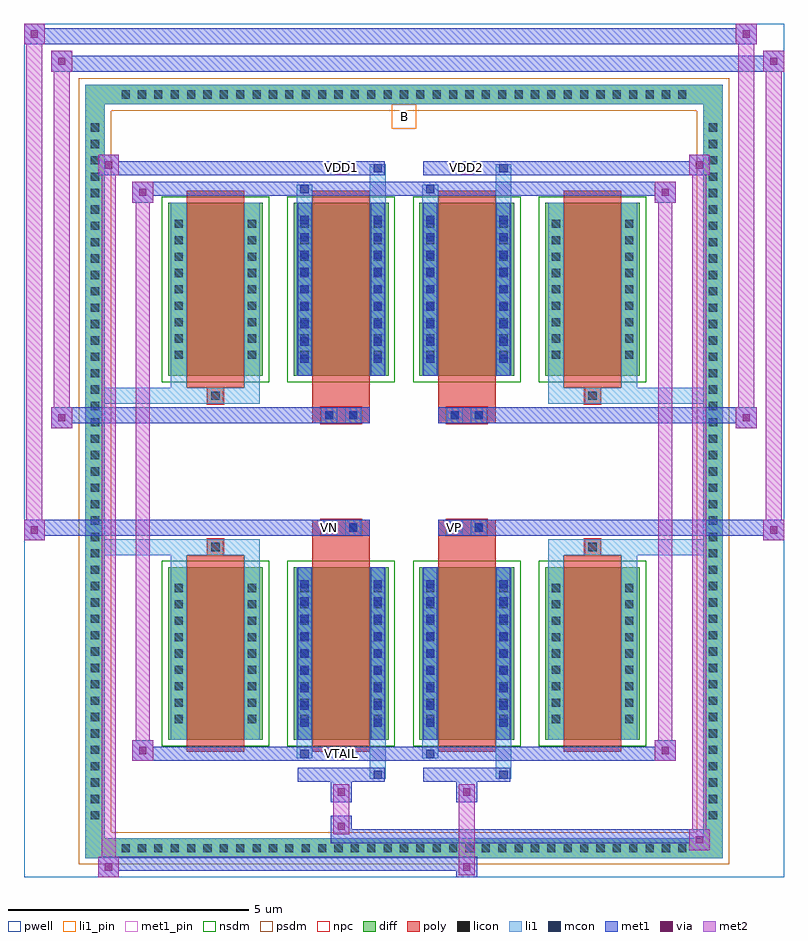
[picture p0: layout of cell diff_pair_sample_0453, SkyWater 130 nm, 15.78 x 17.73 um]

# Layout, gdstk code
import gdstk
lib = gdstk.Library(unit=1e-6, precision=5e-09)
def R(c, l, rs):  # rectangles x0, y0, x1, y1
    for r in rs: c.add(gdstk.rectangle(r[:2], r[2:], *l))
def A(c, l, x, y, w, h, nx, ny, dx, dy):  # array of equal rectangles
    R(c, l, [(x+i*dx, y+j*dy, x+i*dx+w, y+j*dy+h) for i in range(nx) for j in range(ny)])
def P(c, l, *ps):  # polygons
    for p in ps: c.add(gdstk.Polygon(p, *l))
pwell = (64, 44)
diff = (65, 20)
poly = (66, 20)
licon = (66, 44)
li1_pin = (67, 16)
li1 = (67, 20)
mcon = (67, 44)
met1_pin = (68, 16)
met1 = (68, 20)
via = (68, 44)
met2 = (69, 20)
nsdm = (93, 44)
psdm = (94, 20)
npc = (95, 20)

diff_pair_sample_0453 = lib.new_cell('diff_pair_sample_0453')
R(diff_pair_sample_0453, pwell, [(-7.89,-8.43,7.89,9.3), (-5.21,-6.62,-0.01,-0.8), (0.01,-6.62,5.21,-0.8), (-5.21,0.8,-0.01,6.62), (0.01,0.8,5.21,6.62)])
A(diff_pair_sample_0453, diff, -5.985, -8.03, 0.41, 0.41, 35, 2, 0.34, 15.65)
A(diff_pair_sample_0453, diff, -6.62, -7.345, 0.41, 0.41, 1, 43, 0, 0.34)
A(diff_pair_sample_0453, diff, 6.21, -7.345, 0.41, 0.41, 1, 43, 0, 0.34)
A(diff_pair_sample_0453, diff, -4.9, -5.575, 1.97, 3.59, 4, 2, 2.61, 7.56)
R(diff_pair_sample_0453, diff, [(-5.985,-8.03,5.985,-7.62), (-6.62,-7.345,-6.21,7.345), (6.21,-7.345,6.62,7.345), (-5.985,7.62,5.985,8.03)])
P(diff_pair_sample_0453, diff, [(6.62,8.03),(-6.62,8.03),(-6.62,-7.62),(-6.21,-7.62),(-6.21,7.62),(6.21,7.62),(6.21,-7.62),(-6.21,-7.62),(-6.62,-7.62),(-6.62,-8.03),(6.62,-8.03)])
A(diff_pair_sample_0453, poly, -4.51, -5.825, 1.19, 4.09, 4, 2, 2.61, 7.56)
R(diff_pair_sample_0453, poly, [(-4.08,-1.735,-3.75,-1.405), (-4.08,-1.735,-3.75,-1.405), (-1.9,-1.735,-0.71,-1.33), (0.71,-1.735,1.9,-1.33), (3.75,-1.735,4.08,-1.405), (3.75,-1.735,4.08,-1.405), (-1.9,-1.33,-0.71,-1), (-1.72,-1.33,-1.39,-1), (-1.22,-1.33,-0.89,-1), (0.71,-1.33,1.9,-1), (0.89,-1.33,1.22,-1), (1.39,-1.33,1.72,-1), (-1.9,1,-0.71,1.33), (-1.72,1,-1.39,1.33), (-1.22,1,-0.89,1.33), (0.71,1,1.9,1.33), (0.89,1,1.22,1.33), (1.39,1,1.72,1.33), (-1.9,1.33,-0.71,1.735), (0.71,1.33,1.9,1.735), (-4.08,1.405,-3.75,1.735), (-4.08,1.405,-3.75,1.735), (3.75,1.405,4.08,1.735), (3.75,1.405,4.08,1.735)])
A(diff_pair_sample_0453, licon, -5.865, -7.91, 0.17, 0.17, 35, 2, 0.34, 15.65)
A(diff_pair_sample_0453, licon, -6.5, -7.225, 0.17, 0.17, 1, 43, 0, 0.34)
A(diff_pair_sample_0453, licon, 6.33, -7.225, 0.17, 0.17, 1, 43, 0, 0.34)
A(diff_pair_sample_0453, licon, -4.76, -5.225, 0.17, 0.17, 1, 9, 0, 0.34)
A(diff_pair_sample_0453, licon, -3.24, -5.225, 0.17, 0.17, 1, 9, 0, 0.34)
A(diff_pair_sample_0453, licon, -2.15, -5.225, 0.17, 0.17, 1, 9, 0, 0.34)
A(diff_pair_sample_0453, licon, -0.63, -5.225, 0.17, 0.17, 1, 9, 0, 0.34)
A(diff_pair_sample_0453, licon, 0.46, -5.225, 0.17, 0.17, 1, 9, 0, 0.34)
A(diff_pair_sample_0453, licon, 1.98, -5.225, 0.17, 0.17, 1, 9, 0, 0.34)
A(diff_pair_sample_0453, licon, 3.07, -5.225, 0.17, 0.17, 1, 9, 0, 0.34)
A(diff_pair_sample_0453, licon, 4.59, -5.225, 0.17, 0.17, 1, 9, 0, 0.34)
A(diff_pair_sample_0453, licon, -4.76, 2.335, 0.17, 0.17, 1, 9, 0, 0.34)
A(diff_pair_sample_0453, licon, -3.24, 2.335, 0.17, 0.17, 1, 9, 0, 0.34)
A(diff_pair_sample_0453, licon, -2.15, 2.335, 0.17, 0.17, 1, 9, 0, 0.34)
A(diff_pair_sample_0453, licon, -0.63, 2.335, 0.17, 0.17, 1, 9, 0, 0.34)
A(diff_pair_sample_0453, licon, 0.46, 2.335, 0.17, 0.17, 1, 9, 0, 0.34)
A(diff_pair_sample_0453, licon, 1.98, 2.335, 0.17, 0.17, 1, 9, 0, 0.34)
A(diff_pair_sample_0453, licon, 3.07, 2.335, 0.17, 0.17, 1, 9, 0, 0.34)
A(diff_pair_sample_0453, licon, 4.59, 2.335, 0.17, 0.17, 1, 9, 0, 0.34)
R(diff_pair_sample_0453, licon, [(-4,-1.655,-3.83,-1.485), (3.83,-1.655,4,-1.485), (-1.64,-1.25,-1.47,-1.08), (-1.14,-1.25,-0.97,-1.08), (0.97,-1.25,1.14,-1.08), (1.47,-1.25,1.64,-1.08), (-1.64,1.08,-1.47,1.25), (-1.14,1.08,-0.97,1.25), (0.97,1.08,1.14,1.25), (1.47,1.08,1.64,1.25), (-4,1.485,-3.83,1.655), (3.83,1.485,4,1.655)])
R(diff_pair_sample_0453, li1_pin, [(-0.25,7.12,0.25,7.62)])
A(diff_pair_sample_0453, li1, -5.945, -7.99, 0.33, 0.33, 35, 2, 0.34, 15.65)
A(diff_pair_sample_0453, li1, -6.58, -7.305, 0.33, 0.33, 1, 43, 0, 0.34)
A(diff_pair_sample_0453, li1, 6.25, -7.305, 0.33, 0.33, 1, 43, 0, 0.34)
A(diff_pair_sample_0453, li1, -4.84, -5.305, 0.33, 0.33, 1, 9, 0, 0.34)
A(diff_pair_sample_0453, li1, -3.32, -5.305, 0.33, 0.33, 1, 9, 0, 0.34)
A(diff_pair_sample_0453, li1, -2.23, -5.305, 0.33, 0.33, 1, 9, 0, 0.34)
A(diff_pair_sample_0453, li1, -2.15, -5.305, 0.17, 0.17, 1, 9, 0, 0.36)
A(diff_pair_sample_0453, li1, -0.71, -5.305, 0.33, 0.33, 1, 9, 0, 0.34)
A(diff_pair_sample_0453, li1, -0.63, -5.305, 0.17, 0.17, 1, 9, 0, 0.36)
A(diff_pair_sample_0453, li1, 0.38, -5.305, 0.33, 0.33, 1, 9, 0, 0.34)
A(diff_pair_sample_0453, li1, 0.46, -5.305, 0.17, 0.17, 1, 9, 0, 0.36)
A(diff_pair_sample_0453, li1, 1.9, -5.305, 0.33, 0.33, 1, 9, 0, 0.34)
A(diff_pair_sample_0453, li1, 1.98, -5.305, 0.17, 0.17, 1, 9, 0, 0.36)
A(diff_pair_sample_0453, li1, 2.99, -5.305, 0.33, 0.33, 1, 9, 0, 0.34)
A(diff_pair_sample_0453, li1, 4.51, -5.305, 0.33, 0.33, 1, 9, 0, 0.34)
A(diff_pair_sample_0453, li1, -4.84, 2.255, 0.33, 0.33, 1, 9, 0, 0.34)
A(diff_pair_sample_0453, li1, -3.32, 2.255, 0.33, 0.33, 1, 9, 0, 0.34)
A(diff_pair_sample_0453, li1, -2.23, 2.255, 0.33, 0.33, 1, 9, 0, 0.34)
A(diff_pair_sample_0453, li1, -2.15, 2.255, 0.17, 0.17, 1, 9, 0, 0.36)
A(diff_pair_sample_0453, li1, -0.71, 2.255, 0.33, 0.33, 1, 9, 0, 0.34)
A(diff_pair_sample_0453, li1, -0.63, 2.255, 0.17, 0.17, 1, 9, 0, 0.36)
A(diff_pair_sample_0453, li1, 0.38, 2.255, 0.33, 0.33, 1, 9, 0, 0.34)
A(diff_pair_sample_0453, li1, 0.46, 2.255, 0.17, 0.17, 1, 9, 0, 0.36)
A(diff_pair_sample_0453, li1, 1.9, 2.255, 0.33, 0.33, 1, 9, 0, 0.34)
A(diff_pair_sample_0453, li1, 1.98, 2.255, 0.17, 0.17, 1, 9, 0, 0.36)
A(diff_pair_sample_0453, li1, 2.99, 2.255, 0.33, 0.33, 1, 9, 0, 0.34)
A(diff_pair_sample_0453, li1, 4.51, 2.255, 0.33, 0.33, 1, 9, 0, 0.34)
R(diff_pair_sample_0453, li1, [(-6.62,-8.03,-6.21,-7.62), (-6.62,-8.03,-6.21,-7.62), (-6.21,-8.03,6.21,-7.62), (6.21,-8.03,6.62,-7.62), (6.21,-8.03,6.62,-7.62), (-6.62,-7.62,-6.21,7.62), (6.21,-7.62,6.62,7.62), (-0.71,-6.38,-0.38,-5.575), (-0.63,-6.38,-0.46,-6.21), (1.9,-6.38,2.23,-5.575), (1.98,-6.38,2.15,-6.21), (-2.23,-5.95,-1.9,-5.575), (-2.15,-5.95,-1.98,-5.78), (0.38,-5.95,0.71,-5.575), (0.46,-5.95,0.63,-5.78), (-4.84,-5.575,-4.51,-1.985), (-3.32,-5.575,-2.99,-1.985), (-2.23,-5.575,-1.9,-1.985), (-0.71,-5.575,-0.38,-1.985), (0.38,-5.575,0.71,-1.985), (1.9,-5.575,2.23,-1.985), (2.99,-5.575,3.32,-1.985), (4.51,-5.575,4.84,-1.985), (-2.15,-5.305,-1.98,-2.255), (-0.63,-5.305,-0.46,-2.255), (0.46,-5.305,0.63,-2.255), (1.98,-5.305,2.15,-2.255), (-4.84,-1.985,-4.51,-1.405), (-3.32,-1.985,-2.99,-1.405), (2.99,-1.985,3.32,-1.405), (4.51,-1.985,4.84,-1.405), (-6.62,-1.735,-4.08,-1.405), (-4.84,-1.735,-4.08,-1.405), (-4.08,-1.735,-3.75,-1.405), (-3.75,-1.735,-2.99,-1.405), (2.99,-1.735,3.75,-1.405), (3.75,-1.735,4.08,-1.405), (3.75,-1.735,6.62,-1.405), (4.08,-1.735,4.84,-1.405), (-1.72,-1.33,-1.39,-1), (-1.22,-1.33,-0.89,-1), (0.89,-1.33,1.22,-1), (1.39,-1.33,1.72,-1), (-1.72,1,-1.39,1.33), (-1.22,1,-0.89,1.33), (0.89,1,1.22,1.33), (1.39,1,1.72,1.33), (-6.62,1.405,-4.08,1.735), (-4.84,1.405,-4.08,1.735), (-4.84,1.405,-4.51,1.985), (-4.08,1.405,-3.75,1.735), (-3.75,1.405,-2.99,1.735), (-3.32,1.405,-2.99,1.985), (2.99,1.405,3.75,1.735), (2.99,1.405,3.32,1.985), (3.75,1.405,4.08,1.735), (3.75,1.405,6.62,1.735), (4.08,1.405,4.84,1.735), (4.51,1.405,4.84,1.985), (-4.84,1.985,-4.51,5.575), (-3.32,1.985,-2.99,5.575), (-2.23,1.985,-1.9,5.575), (-0.71,1.985,-0.38,5.575), (0.38,1.985,0.71,5.575), (1.9,1.985,2.23,5.575), (2.99,1.985,3.32,5.575), (4.51,1.985,4.84,5.575), (-2.15,2.255,-1.98,5.305), (-0.63,2.255,-0.46,5.305), (0.46,2.255,0.63,5.305), (1.98,2.255,2.15,5.305), (-2.23,5.575,-1.9,5.95), (-0.71,5.575,-0.38,6.38), (0.38,5.575,0.71,5.95), (1.9,5.575,2.23,6.38), (-2.15,5.78,-1.98,5.95), (0.46,5.78,0.63,5.95), (-0.63,6.21,-0.46,6.38), (1.98,6.21,2.15,6.38), (-6.62,7.62,-6.21,8.03), (-6.62,7.62,-6.21,8.03), (-6.21,7.62,6.21,8.03), (6.21,7.62,6.62,8.03), (6.21,7.62,6.62,8.03)])
A(diff_pair_sample_0453, mcon, -2.15, -5.305, 0.17, 0.17, 1, 9, 0, 0.36)
A(diff_pair_sample_0453, mcon, -0.63, -5.305, 0.17, 0.17, 1, 9, 0, 0.36)
A(diff_pair_sample_0453, mcon, 0.46, -5.305, 0.17, 0.17, 1, 9, 0, 0.36)
A(diff_pair_sample_0453, mcon, 1.98, -5.305, 0.17, 0.17, 1, 9, 0, 0.36)
A(diff_pair_sample_0453, mcon, -2.15, 2.255, 0.17, 0.17, 1, 9, 0, 0.36)
A(diff_pair_sample_0453, mcon, -0.63, 2.255, 0.17, 0.17, 1, 9, 0, 0.36)
A(diff_pair_sample_0453, mcon, 0.46, 2.255, 0.17, 0.17, 1, 9, 0, 0.36)
A(diff_pair_sample_0453, mcon, 1.98, 2.255, 0.17, 0.17, 1, 9, 0, 0.36)
R(diff_pair_sample_0453, mcon, [(-0.63,-6.38,-0.46,-6.21), (1.98,-6.38,2.15,-6.21), (-2.15,-5.95,-1.98,-5.78), (0.46,-5.95,0.63,-5.78), (-1.64,-1.25,-1.47,-1.08), (-1.14,-1.25,-0.97,-1.08), (0.97,-1.25,1.14,-1.08), (1.47,-1.25,1.64,-1.08), (-1.64,1.08,-1.47,1.25), (-1.14,1.08,-0.97,1.25), (0.97,1.08,1.14,1.25), (1.47,1.08,1.64,1.25), (-2.15,5.78,-1.98,5.95), (0.46,5.78,0.63,5.95), (-0.63,6.21,-0.46,6.38), (1.98,6.21,2.15,6.38)])
R(diff_pair_sample_0453, met1_pin, [(-1.44,-5.99,-1.17,-5.72), (-1.69,-1.29,-1.42,-1.02), (0.92,-1.29,1.19,-1.02), (-1.44,6.17,-1.17,6.44), (1.17,6.17,1.44,6.44)])
A(diff_pair_sample_0453, met1, -2.21, -5.365, 0.29, 0.29, 1, 9, 0, 0.36)
A(diff_pair_sample_0453, met1, -0.69, -5.365, 0.29, 0.29, 1, 9, 0, 0.36)
A(diff_pair_sample_0453, met1, 0.4, -5.365, 0.29, 0.29, 1, 9, 0, 0.36)
A(diff_pair_sample_0453, met1, 1.92, -5.365, 0.29, 0.29, 1, 9, 0, 0.36)
A(diff_pair_sample_0453, met1, -2.21, 2.195, 0.29, 0.29, 1, 9, 0, 0.36)
A(diff_pair_sample_0453, met1, -0.69, 2.195, 0.29, 0.29, 1, 9, 0, 0.36)
A(diff_pair_sample_0453, met1, 0.4, 2.195, 0.29, 0.29, 1, 9, 0, 0.36)
A(diff_pair_sample_0453, met1, 1.92, 2.195, 0.29, 0.29, 1, 9, 0, 0.36)
R(diff_pair_sample_0453, met1, [(-6.35,-8.43,-5.92,-8), (1.09,-8.43,1.52,-8), (-6.35,-8.29,1.52,-8), (5.92,-7.86,6.35,-7.43), (-1.52,-7.72,6.35,-7.43), (-1.52,-7.58,-1.09,-7.15), (-1.52,-6.87,-1.09,-6.44), (1.09,-6.87,1.52,-6.44), (-2.21,-6.44,-0.4,-6.15), (-0.69,-6.44,-0.4,-6.15), (0.4,-6.44,2.21,-6.15), (1.92,-6.44,2.21,-6.15), (-5.64,-6.01,-5.21,-5.58), (-5.64,-6.01,-2.21,-5.72), (-2.21,-6.01,-1.92,-5.72), (-2.21,-6.01,-0.4,-5.72), (-0.4,-6.01,0.4,-5.72), (0.4,-6.01,0.69,-5.72), (0.4,-6.01,2.21,-5.72), (2.21,-6.01,5.64,-5.72), (5.21,-6.01,5.64,-5.58), (-2.21,-5.575,-1.92,-1.985), (-0.69,-5.575,-0.4,-1.985), (0.4,-5.575,0.69,-1.985), (1.92,-5.575,2.21,-1.985), (-7.89,-1.43,-7.46,-1), (7.46,-1.43,7.89,-1), (-7.89,-1.33,-0.71,-1), (-1.9,-1.33,-0.71,-1), (0.71,-1.33,1.9,-1), (0.71,-1.33,7.89,-1), (-1.7,-1.31,-1.41,-1.02), (-1.2,-1.31,-0.91,-1.02), (0.91,-1.31,1.2,-1.02), (1.41,-1.31,1.7,-1.02), (-7.32,0.9,-6.89,1.33), (6.89,0.9,7.32,1.33), (-7.32,1,-1.9,1.33), (-1.9,1,-0.71,1.33), (0.71,1,1.9,1.33), (1.9,1,7.32,1.33), (-1.7,1.02,-1.41,1.31), (-1.2,1.02,-0.91,1.31), (0.91,1.02,1.2,1.31), (1.41,1.02,1.7,1.31), (-2.21,1.985,-1.92,5.575), (-0.69,1.985,-0.4,5.575), (0.4,1.985,0.69,5.575), (1.92,1.985,2.21,5.575), (-5.64,5.58,-5.21,6.01), (5.21,5.58,5.64,6.01), (-5.64,5.72,-2.21,6.01), (-2.21,5.72,-1.92,6.01), (-2.21,5.72,-0.4,6.01), (-0.4,5.72,0.4,6.01), (0.4,5.72,0.69,6.01), (0.4,5.72,2.21,6.01), (2.21,5.72,5.64,6.01), (-6.35,6.15,-5.92,6.58), (-6.35,6.15,-2.21,6.44), (-2.21,6.15,-0.4,6.44), (-0.69,6.15,-0.4,6.44), (0.4,6.15,2.21,6.44), (1.92,6.15,2.21,6.44), (2.21,6.15,6.35,6.44), (5.92,6.15,6.35,6.58), (-7.32,8.3,-6.89,8.73), (-7.32,8.3,-5.21,8.63), (-5.21,8.3,5.21,8.63), (5.21,8.3,7.89,8.63), (7.46,8.3,7.89,8.73), (-7.89,8.87,-7.46,9.3), (-7.89,8.87,-5.21,9.2), (-5.21,8.87,5.21,9.2), (5.21,8.87,7.32,9.2), (6.89,8.87,7.32,9.3)])
R(diff_pair_sample_0453, via, [(-6.21,-8.29,-6.06,-8.14), (1.23,-8.29,1.38,-8.14), (6.06,-7.72,6.21,-7.57), (-1.38,-7.44,-1.23,-7.29), (-1.38,-6.73,-1.23,-6.58), (1.23,-6.73,1.38,-6.58), (-5.5,-5.87,-5.35,-5.72), (5.35,-5.87,5.5,-5.72), (-7.75,-1.29,-7.6,-1.14), (7.6,-1.29,7.75,-1.14), (-7.18,1.04,-7.03,1.19), (7.03,1.04,7.18,1.19), (-5.5,5.72,-5.35,5.87), (5.35,5.72,5.5,5.87), (-6.21,6.29,-6.06,6.44), (6.06,6.29,6.21,6.44), (-7.18,8.44,-7.03,8.59), (7.6,8.44,7.75,8.59), (-7.75,9.01,-7.6,9.16), (7.03,9.01,7.18,9.16)])
R(diff_pair_sample_0453, met2, [(-6.35,-8.43,-5.92,-8), (-6.28,-8.43,-5.99,6.58), (-5.99,-8.43,-5.92,-8), (-6.3,-8.38,-5.97,-8.05), (1.14,-8.38,1.47,-8.05), (1.14,-8.05,1.47,-6.82), (5.92,-7.86,6.35,-7.43), (5.99,-7.86,6.28,6.58), (6.28,-7.86,6.35,-7.43), (5.97,-7.81,6.3,-7.48), (-1.47,-7.53,-1.14,-7.2), (-1.47,-7.2,-1.14,-6.82), (-1.47,-6.82,-1.14,-6.49), (1.14,-6.82,1.47,-6.49), (-5.64,-6.01,-5.21,-5.58), (-5.57,-6.01,-5.28,6.01), (-5.28,-6.01,-5.21,-5.58), (5.21,-6.01,5.64,-5.58), (5.28,-6.01,5.57,6.01), (5.57,-6.01,5.64,-5.58), (-5.59,-5.96,-5.26,-5.63), (5.26,-5.96,5.59,-5.63), (-7.89,-1.43,-7.46,-1), (-7.84,-1.43,-7.51,9.3), (-7.51,-1.43,-7.46,-1), (7.46,-1.43,7.89,-1), (7.51,-1.43,7.84,8.73), (7.84,-1.43,7.89,-1), (-7.84,-1.38,-7.51,-1.05), (7.51,-1.38,7.84,-1.05), (-7.32,0.9,-6.89,1.33), (-7.27,0.9,-6.94,8.73), (-6.94,0.9,-6.89,1.33), (6.89,0.9,7.32,1.33), (6.94,0.9,7.27,9.3), (7.27,0.9,7.32,1.33), (-7.27,0.95,-6.94,1.28), (6.94,0.95,7.27,1.28), (-5.64,5.58,-5.21,6.01), (-5.28,5.58,-5.21,6.01), (5.21,5.58,5.64,6.01), (5.57,5.58,5.64,6.01), (-5.59,5.63,-5.26,5.96), (5.26,5.63,5.59,5.96), (-6.35,6.15,-5.92,6.58), (-5.99,6.15,-5.92,6.58), (5.92,6.15,6.35,6.58), (6.28,6.15,6.35,6.58), (-6.3,6.2,-5.97,6.53), (5.97,6.2,6.3,6.53), (-7.32,8.3,-6.89,8.73), (-6.94,8.3,-6.89,8.73), (7.46,8.3,7.89,8.73), (7.84,8.3,7.89,8.73), (-7.27,8.35,-6.94,8.68), (7.51,8.35,7.84,8.68), (-7.89,8.87,-7.46,9.3), (-7.51,8.87,-7.46,9.3), (6.89,8.87,7.32,9.3), (7.27,8.87,7.32,9.3), (-7.84,8.92,-7.51,9.25), (6.94,8.92,7.27,9.25)])
A(diff_pair_sample_0453, nsdm, -5.03, -5.705, 2.23, 3.85, 4, 2, 2.61, 7.56)
P(diff_pair_sample_0453, psdm, [(6.75,8.16),(-6.75,8.16),(-6.75,-7.49),(-6.08,-7.49),(-6.08,7.49),(6.08,7.49),(6.08,-7.49),(-6.08,-7.49),(-6.75,-7.49),(-6.75,-8.16),(6.75,-8.16)])
R(diff_pair_sample_0453, npc, [(-4.1,-1.755,-3.73,-1.385), (3.73,-1.755,4.1,-1.385), (-1.74,-1.35,-1.37,-0.98), (-1.74,-1.35,-0.87,-0.98), (-1.74,-1.35,-0.87,-0.98), (-1.24,-1.35,-0.87,-0.98), (0.87,-1.35,1.24,-0.98), (0.87,-1.35,1.74,-0.98), (0.87,-1.35,1.74,-0.98), (1.37,-1.35,1.74,-0.98), (-1.74,0.98,-1.37,1.35), (-1.74,0.98,-0.87,1.35), (-1.74,0.98,-0.87,1.35), (-1.24,0.98,-0.87,1.35), (0.87,0.98,1.24,1.35), (0.87,0.98,1.74,1.35), (0.87,0.98,1.74,1.35), (1.37,0.98,1.74,1.35), (-4.1,1.385,-3.73,1.755), (3.73,1.385,4.1,1.755)])
diff_pair_sample_0453.add(gdstk.Label('VTAIL', (-1.305,-5.855), layer=68, texttype=5))
diff_pair_sample_0453.add(gdstk.Label('VN', (-1.555,-1.155), layer=68, texttype=5))
diff_pair_sample_0453.add(gdstk.Label('VP', (1.055,-1.155), layer=68, texttype=5))
diff_pair_sample_0453.add(gdstk.Label('B', (0,7.37), layer=67, texttype=5))
diff_pair_sample_0453.add(gdstk.Label('VDD2', (1.305,6.305), layer=68, texttype=5))
diff_pair_sample_0453.add(gdstk.Label('VDD1', (-1.305,6.305), layer=68, texttype=5))

lib.write_gds('diff_pair_sample_0453.gds')
